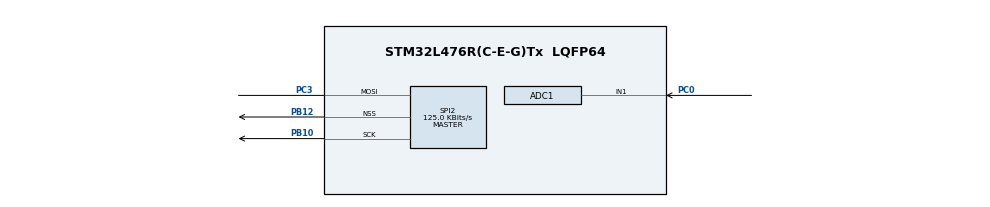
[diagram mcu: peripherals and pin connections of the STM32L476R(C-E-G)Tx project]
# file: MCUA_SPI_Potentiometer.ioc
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ADC1.Channel-0\#ChannelRegularConversion=ADC_CHANNEL_1
ADC1.ContinuousConvMode=ENABLE
ADC1.NbrOfConversionFlag=1
ADC1.OffsetNumber-0\#ChannelRegularConversion=ADC_OFFSET_NONE
ADC1.Overrun=ADC_OVR_DATA_OVERWRITTEN
ADC1.Rank-0\#ChannelRegularConversion=1
ADC1.SamplingTime-0\#ChannelRegularConversion=ADC_SAMPLETIME_92CYCLES_5
ADC1.master=1
Mcu.Family=STM32L4
Mcu.Name=STM32L476R(C-E-G)Tx
Mcu.Package=LQFP64
NVIC.PriorityGroup=NVIC_PRIORITYGROUP_4
PB10.Mode=Simplex_Bidirectional_Master
PB10.Signal=SPI2_SCK
PB12.Mode=NSS_Signal_Hard_Output
PB12.Signal=SPI2_NSS
PC0.Signal=ADCx_IN1
PC3.Mode=Simplex_Bidirectional_Master
PC3.Signal=SPI2_MOSI
ProjectManager.HeapSize=0x200
ProjectManager.StackSize=0x400
ProjectManager.TargetToolchain=MDK-ARM V5.32
RCC.ADCFreq_Value=32000000
RCC.AHBFreq_Value=4000000
RCC.APB1Freq_Value=4000000
RCC.APB1TimFreq_Value=4000000
RCC.APB2Freq_Value=4000000
RCC.APB2TimFreq_Value=4000000
RCC.CortexFreq_Value=4000000
RCC.HCLKFreq_Value=4000000
RCC.HSE_VALUE=8000000
RCC.HSI_VALUE=16000000
RCC.LSE_VALUE=32768
RCC.MSI_VALUE=4000000
RCC.PLLSAI1N=16
RCC.SYSCLKFreq_VALUE=4000000
RCC.USBFreq_Value=32000000
RCC.VCOOutputFreq_Value=32000000
SH.ADCx_IN1.0=ADC1_IN1,IN1-Single-Ended
SPI2.BaudRatePrescaler=SPI_BAUDRATEPRESCALER_32
SPI2.CalculateBaudRate=125.0 KBits/s
SPI2.DataSize=SPI_DATASIZE_8BIT
SPI2.Direction=SPI_DIRECTION_1LINE
SPI2.Mode=SPI_MODE_MASTER
SPI2.VirtualNSS=VM_NSSHARD
SPI2.VirtualType=VM_MASTER
TIM2.Period=9
TIM2.Prescaler=3
VP_TIM2_VS_ClockSourceINT.Mode=Internal
board=custom

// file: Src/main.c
/* USER CODE BEGIN Header */
/**
  ******************************************************************************
  * @file           : main.c
  * @brief          : Main program body
  ******************************************************************************
  * @attention
  *
  * Copyright (c) 2024 STMicroelectronics.
  * All rights reserved.
  *
  * This software is licensed under terms that can be found in the LICENSE file
  * in the root directory of this software component.
  * If no LICENSE file comes with this software, it is provided AS-IS.
  *
  ******************************************************************************
  */
/* USER CODE END Header */
#include "main.h"

/* USER CODE BEGIN Includes */
#include "kalman.h"
/* USER CODE END Includes */

/* USER CODE BEGIN PM */
#define constrain(amt,low,high) ((amt)<(low)?(low):((amt)>(high)?(high):(amt)))
/* USER CODE END PM */

/* USER CODE BEGIN PV */
__IO uint16_t adcValue = 0;
__IO uint16_t adcFinal = 0;
__IO uint16_t dataTransfer = 0;
__IO uint16_t old_dataTransfer = 0;
__IO uint8_t sentData = 0;;
/* USER CODE END PV */

void SystemClock_Config(void);
void PeriphCommonClock_Config(void);
static void MX_GPIO_Init(void);
static void MX_ADC1_Init(void);
static void MX_SPI2_Init(void);
static void MX_TIM2_Init(void);
/* USER CODE BEGIN PFP */
int map(int x, int in_min, int in_max, int out_min, int out_max);
void delay_ms(uint32_t timeDelay);
void SPI2_TransmitByte(uint8_t data);
/* USER CODE END PFP */

int main(void)
{

  /* MCU Configuration--------------------------------------------------------*/

  /* Reset of all peripherals, Initializes the Flash interface and the Systick. */
  LL_APB2_GRP1_EnableClock(LL_APB2_GRP1_PERIPH_SYSCFG);
  LL_APB1_GRP1_EnableClock(LL_APB1_GRP1_PERIPH_PWR);

  /* System interrupt init*/
  NVIC_SetPriorityGrouping(NVIC_PRIORITYGROUP_4);

  /* SysTick_IRQn interrupt configuration */
  NVIC_SetPriority(SysTick_IRQn, NVIC_EncodePriority(NVIC_GetPriorityGrouping(),15, 0));

  /* Configure the system clock */
  SystemClock_Config();

  /* Configure the peripherals common clocks */
  PeriphCommonClock_Config();

  /* Initialize all configured peripherals */
  MX_GPIO_Init();
  MX_ADC1_Init();
  MX_SPI2_Init();
  MX_TIM2_Init();
  /* USER CODE BEGIN 2 */
	SimpleKalmanFilter(0.1, 0.01, 1);
	LL_ADC_REG_StartConversion(ADC1);
	while (!LL_ADC_IsActiveFlag_EOC(ADC1)){}
	LL_ADC_ClearFlag_EOC(ADC1);
	adcValue = LL_ADC_REG_ReadConversionData12(ADC1);
	adcFinal = (uint16_t)updateEstimate((float)adcValue);
	dataTransfer = map(adcFinal, 0, 4095, 0, 180);
	old_dataTransfer = dataTransfer;
  /* USER CODE END 2 */

  /* Infinite loop */
  while (1)
  {

		while (old_dataTransfer == dataTransfer)
		{
			adcValue = LL_ADC_REG_ReadConversionData12(ADC1);
			adcFinal = (uint16_t)updateEstimate((float)adcValue);
			dataTransfer = map(adcFinal, 0, 4095, 0, 180);
		}
		SPI2_TransmitByte((uint8_t)dataTransfer);
		old_dataTransfer = dataTransfer;
		delay_ms(1);

  }
}

void SystemClock_Config(void)
{
  LL_FLASH_SetLatency(LL_FLASH_LATENCY_0);
  while(LL_FLASH_GetLatency()!= LL_FLASH_LATENCY_0)
  {
  }
  LL_PWR_SetRegulVoltageScaling(LL_PWR_REGU_VOLTAGE_SCALE1);
  while (LL_PWR_IsActiveFlag_VOS() != 0)
  {
  }
  LL_RCC_MSI_Enable();

   /* Wait till MSI is ready */
  while(LL_RCC_MSI_IsReady() != 1)
  {

  }
  LL_RCC_MSI_EnableRangeSelection();
  LL_RCC_MSI_SetRange(LL_RCC_MSIRANGE_6);
  LL_RCC_MSI_SetCalibTrimming(0);
  LL_RCC_SetSysClkSource(LL_RCC_SYS_CLKSOURCE_MSI);

   /* Wait till System clock is ready */
  while(LL_RCC_GetSysClkSource() != LL_RCC_SYS_CLKSOURCE_STATUS_MSI)
  {

  }
  LL_RCC_SetAHBPrescaler(LL_RCC_SYSCLK_DIV_1);
  LL_RCC_SetAPB1Prescaler(LL_RCC_APB1_DIV_1);
  LL_RCC_SetAPB2Prescaler(LL_RCC_APB2_DIV_1);

  LL_Init1msTick(4000000);

  LL_SetSystemCoreClock(4000000);
}

void PeriphCommonClock_Config(void)
{
  LL_RCC_PLLSAI1_ConfigDomain_ADC(LL_RCC_PLLSOURCE_MSI, LL_RCC_PLLM_DIV_1, 16, LL_RCC_PLLSAI1R_DIV_2);
  LL_RCC_PLLSAI1_EnableDomain_ADC();
  LL_RCC_PLLSAI1_Enable();

   /* Wait till PLLSAI1 is ready */
  while(LL_RCC_PLLSAI1_IsReady() != 1)
  {

  }
}

static void MX_ADC1_Init(void)
{

  LL_ADC_InitTypeDef ADC_InitStruct = {0};
  LL_ADC_REG_InitTypeDef ADC_REG_InitStruct = {0};
  LL_ADC_CommonInitTypeDef ADC_CommonInitStruct = {0};

  LL_GPIO_InitTypeDef GPIO_InitStruct = {0};

  LL_RCC_SetADCClockSource(LL_RCC_ADC_CLKSOURCE_PLLSAI1);

  /* Peripheral clock enable */
  LL_AHB2_GRP1_EnableClock(LL_AHB2_GRP1_PERIPH_ADC);

  LL_AHB2_GRP1_EnableClock(LL_AHB2_GRP1_PERIPH_GPIOC);
  /**ADC1 GPIO Configuration
  PC0   ------> ADC1_IN1
  */
  GPIO_InitStruct.Pin = LL_GPIO_PIN_0;
  GPIO_InitStruct.Mode = LL_GPIO_MODE_ANALOG;
  GPIO_InitStruct.Pull = LL_GPIO_PULL_NO;
  LL_GPIO_Init(GPIOC, &GPIO_InitStruct);

  LL_GPIO_EnablePinAnalogControl(GPIOC, LL_GPIO_PIN_0);

  /** Common config
  */
  ADC_InitStruct.Resolution = LL_ADC_RESOLUTION_12B;
  ADC_InitStruct.DataAlignment = LL_ADC_DATA_ALIGN_RIGHT;
  ADC_InitStruct.LowPowerMode = LL_ADC_LP_MODE_NONE;
  LL_ADC_Init(ADC1, &ADC_InitStruct);
  ADC_REG_InitStruct.TriggerSource = LL_ADC_REG_TRIG_SOFTWARE;
  ADC_REG_InitStruct.SequencerLength = LL_ADC_REG_SEQ_SCAN_DISABLE;
  ADC_REG_InitStruct.SequencerDiscont = LL_ADC_REG_SEQ_DISCONT_DISABLE;
  ADC_REG_InitStruct.ContinuousMode = LL_ADC_REG_CONV_CONTINUOUS;
  ADC_REG_InitStruct.DMATransfer = LL_ADC_REG_DMA_TRANSFER_NONE;
  ADC_REG_InitStruct.Overrun = LL_ADC_REG_OVR_DATA_OVERWRITTEN;
  LL_ADC_REG_Init(ADC1, &ADC_REG_InitStruct);
  LL_ADC_SetOverSamplingScope(ADC1, LL_ADC_OVS_DISABLE);
  ADC_CommonInitStruct.CommonClock = LL_ADC_CLOCK_ASYNC_DIV1;
  ADC_CommonInitStruct.Multimode = LL_ADC_MULTI_INDEPENDENT;
  LL_ADC_CommonInit(__LL_ADC_COMMON_INSTANCE(ADC1), &ADC_CommonInitStruct);
  LL_ADC_SetCommonPathInternalCh(__LL_ADC_COMMON_INSTANCE(ADC1), LL_ADC_PATH_INTERNAL_NONE);

  /* Disable ADC deep power down (enabled by default after reset state) */
  LL_ADC_DisableDeepPowerDown(ADC1);
  /* Enable ADC internal voltage regulator */
  LL_ADC_EnableInternalRegulator(ADC1);
  /* Delay for ADC internal voltage regulator stabilization. */
  /* Compute number of CPU cycles to wait for, from delay in us. */
  /* Note: Variable divided by 2 to compensate partially */
  /* CPU processing cycles (depends on compilation optimization). */
  /* Note: If system core clock frequency is below 200kHz, wait time */
  /* is only a few CPU processing cycles. */
  uint32_t wait_loop_index;
  wait_loop_index = ((LL_ADC_DELAY_INTERNAL_REGUL_STAB_US * (SystemCoreClock / (100000 * 2))) / 10);
  while(wait_loop_index != 0)
  {
    wait_loop_index--;
  }

  /** Configure Regular Channel
  */
  LL_ADC_REG_SetSequencerRanks(ADC1, LL_ADC_REG_RANK_1, LL_ADC_CHANNEL_1);
  LL_ADC_SetChannelSamplingTime(ADC1, LL_ADC_CHANNEL_1, LL_ADC_SAMPLINGTIME_92CYCLES_5);
  LL_ADC_SetChannelSingleDiff(ADC1, LL_ADC_CHANNEL_1, LL_ADC_SINGLE_ENDED);
  /* USER CODE BEGIN ADC1_Init 2 */
	LL_ADC_StartCalibration(ADC1, LL_ADC_SINGLE_ENDED);
	while (LL_ADC_IsCalibrationOnGoing(ADC1) != 0){}
	LL_ADC_Enable(ADC1);
  while (!LL_ADC_IsEnabled(ADC1));
	while (LL_ADC_IsActiveFlag_ADRDY(ADC1) == 0){}
  /* USER CODE END ADC1_Init 2 */

}

static void MX_SPI2_Init(void)
{

  LL_SPI_InitTypeDef SPI_InitStruct = {0};

  LL_GPIO_InitTypeDef GPIO_InitStruct = {0};

  /* Peripheral clock enable */
  LL_APB1_GRP1_EnableClock(LL_APB1_GRP1_PERIPH_SPI2);

  LL_AHB2_GRP1_EnableClock(LL_AHB2_GRP1_PERIPH_GPIOC);
  LL_AHB2_GRP1_EnableClock(LL_AHB2_GRP1_PERIPH_GPIOB);
  /**SPI2 GPIO Configuration
  PC3   ------> SPI2_MOSI
  PB10   ------> SPI2_SCK
  PB12   ------> SPI2_NSS
  */
  GPIO_InitStruct.Pin = LL_GPIO_PIN_3;
  GPIO_InitStruct.Mode = LL_GPIO_MODE_ALTERNATE;
  GPIO_InitStruct.Speed = LL_GPIO_SPEED_FREQ_VERY_HIGH;
  GPIO_InitStruct.OutputType = LL_GPIO_OUTPUT_PUSHPULL;
  GPIO_InitStruct.Pull = LL_GPIO_PULL_NO;
  GPIO_InitStruct.Alternate = LL_GPIO_AF_5;
  LL_GPIO_Init(GPIOC, &GPIO_InitStruct);

  GPIO_InitStruct.Pin = LL_GPIO_PIN_10|LL_GPIO_PIN_12;
  GPIO_InitStruct.Mode = LL_GPIO_MODE_ALTERNATE;
  GPIO_InitStruct.Speed = LL_GPIO_SPEED_FREQ_VERY_HIGH;
  GPIO_InitStruct.OutputType = LL_GPIO_OUTPUT_PUSHPULL;
  GPIO_InitStruct.Pull = LL_GPIO_PULL_NO;
  GPIO_InitStruct.Alternate = LL_GPIO_AF_5;
  LL_GPIO_Init(GPIOB, &GPIO_InitStruct);

  /* SPI2 parameter configuration*/
  SPI_InitStruct.TransferDirection = LL_SPI_HALF_DUPLEX_TX;
  SPI_InitStruct.Mode = LL_SPI_MODE_MASTER;
  SPI_InitStruct.DataWidth = LL_SPI_DATAWIDTH_8BIT;
  SPI_InitStruct.ClockPolarity = LL_SPI_POLARITY_LOW;
  SPI_InitStruct.ClockPhase = LL_SPI_PHASE_1EDGE;
  SPI_InitStruct.NSS = LL_SPI_NSS_HARD_OUTPUT;
  SPI_InitStruct.BaudRate = LL_SPI_BAUDRATEPRESCALER_DIV32;
  SPI_InitStruct.BitOrder = LL_SPI_MSB_FIRST;
  SPI_InitStruct.CRCCalculation = LL_SPI_CRCCALCULATION_DISABLE;
  SPI_InitStruct.CRCPoly = 7;
  LL_SPI_Init(SPI2, &SPI_InitStruct);
  LL_SPI_SetStandard(SPI2, LL_SPI_PROTOCOL_MOTOROLA);
  LL_SPI_EnableNSSPulseMgt(SPI2);
  /* USER CODE BEGIN SPI2_Init 2 */
	LL_SPI_Enable(SPI2);
  /* USER CODE END SPI2_Init 2 */

}

static void MX_TIM2_Init(void)
{

  LL_TIM_InitTypeDef TIM_InitStruct = {0};

  /* Peripheral clock enable */
  LL_APB1_GRP1_EnableClock(LL_APB1_GRP1_PERIPH_TIM2);

  TIM_InitStruct.Prescaler = 3;
  TIM_InitStruct.CounterMode = LL_TIM_COUNTERMODE_UP;
  TIM_InitStruct.Autoreload = 9;
  TIM_InitStruct.ClockDivision = LL_TIM_CLOCKDIVISION_DIV1;
  LL_TIM_Init(TIM2, &TIM_InitStruct);
  LL_TIM_DisableARRPreload(TIM2);
  LL_TIM_SetClockSource(TIM2, LL_TIM_CLOCKSOURCE_INTERNAL);
  LL_TIM_SetTriggerOutput(TIM2, LL_TIM_TRGO_RESET);
  LL_TIM_DisableMasterSlaveMode(TIM2);
  /* USER CODE BEGIN TIM2_Init 2 */
	LL_TIM_EnableCounter(TIM2);
  /* USER CODE END TIM2_Init 2 */

}

static void MX_GPIO_Init(void)
{

  /* GPIO Ports Clock Enable */
  LL_AHB2_GRP1_EnableClock(LL_AHB2_GRP1_PERIPH_GPIOC);
  LL_AHB2_GRP1_EnableClock(LL_AHB2_GRP1_PERIPH_GPIOB);

}

/* USER CODE BEGIN 4 */
int map(int x, int in_min, int in_max, int out_min, int out_max)
{
  return (x - in_min) * (out_max - out_min) / (in_max - in_min) + out_min;
}

void SPI2_TransmitByte(uint8_t data)
{
    // Doi cho den khi TX buffer trong (TXE flag duoc set)
    while (!LL_SPI_IsActiveFlag_TXE(SPI2));

	  sentData = data;
    // Gui 1 byte du lieu
    LL_SPI_TransmitData8(SPI2, data);

    // Doi cho den khi byte duoc truyen xong (BSY flag duoc reset)
    while (LL_SPI_IsActiveFlag_BSY(SPI2));
}

void delay_ms(uint32_t timeDelay)
{
    for (uint32_t i = 0; i < timeDelay; i++)
    {
        LL_TIM_SetCounter(TIM2, 0);
			  LL_TIM_EnableCounter(TIM2);
        while (!LL_TIM_IsActiveFlag_UPDATE(TIM2));
        LL_TIM_ClearFlag_UPDATE(TIM2);
    }
}
/* USER CODE END 4 */

void Error_Handler(void)
{
  __disable_irq();
  while (1)
  {
  }
}
